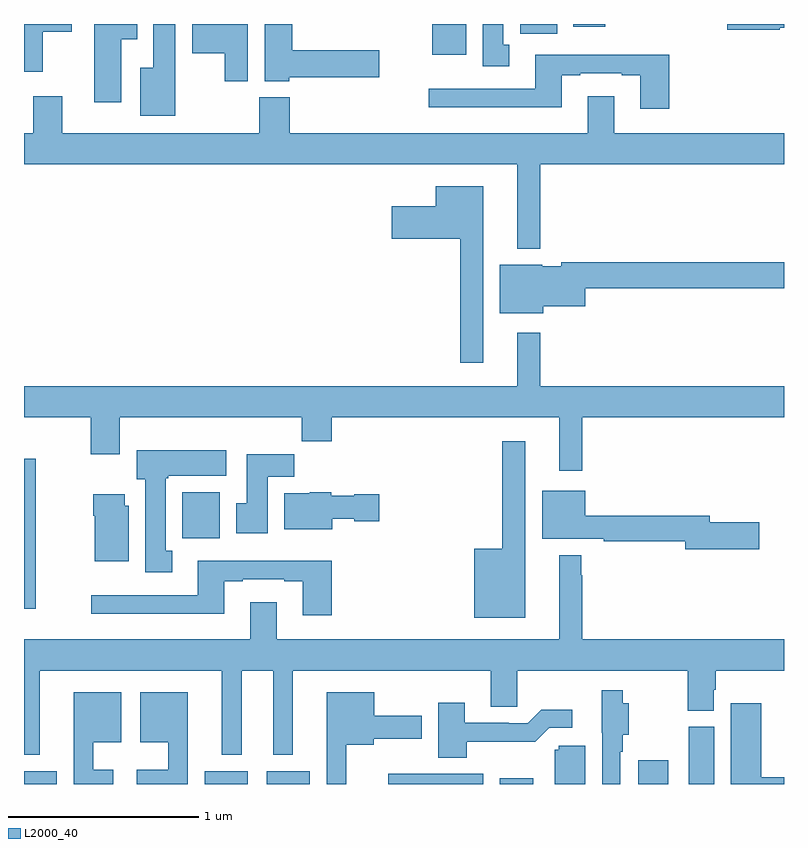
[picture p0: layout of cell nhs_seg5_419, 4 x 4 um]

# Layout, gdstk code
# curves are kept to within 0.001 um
import gdstk
lib = gdstk.Library(unit=1e-6, precision=1e-09)
def R(c, l, rs):  # rectangles x0, y0, x1, y1
    for r in rs: c.add(gdstk.rectangle(r[:2], r[2:], *l))
def P(c, l, *ps):  # polygons
    for p in ps: c.add(gdstk.Polygon(p, *l))
L2000_40 = (2000, 40)

nhs_seg5_419 = lib.new_cell('nhs_seg5_419')
R(nhs_seg5_419, L2000_40, [(137,886.799,137.173,886.867), (137.951,886.799,138.178,886.867), (138.278,886.799,138.505,886.867), (138.918,886.799,139.418,886.852), (139.503,886.799,139.681,886.828), (140.234,886.799,140.392,886.924), (140.498,886.799,140.632,887.1), (137,887.721,137.063,888.512), (137.834,888.092,138.031,888.334), (139.148,890.636,139.327,890.799), (139.611,890.748,139.807,890.799), (139.892,890.784,140.059,890.799)])
P(nhs_seg5_419, L2000_40, [(137.512,890.72),(137.596,890.72),(137.596,890.799),(137.369,890.799),(137.369,890.388),(137.512,890.388)],
  [(139.555,890.689),(139.522,890.689),(139.522,890.799),(139.415,890.799),(139.415,890.577),(139.555,890.577)],
  [(138.178,890.799),(137.885,890.799),(137.885,890.645),(138.056,890.645),(138.056,890.499),(138.178,890.499)],
  [(137.797,890.799),(137.681,890.799),(137.681,890.569),(137.612,890.569),(137.612,890.315),(137.797,890.315)],
  [(138.396,890.518),(138.871,890.518),(138.871,890.66),(138.413,890.66),(138.413,890.799),(138.266,890.799),(138.266,890.498),(138.396,890.498)],
  [(137.098,890.758),(137.251,890.758),(137.251,890.799),(137,890.799),(137,890.547),(137.098,890.547)],
  [(140.978,890.78),(141,890.78),(141,890.799),(140.702,890.799),(140.702,890.768),(140.978,890.768)],
  [(140.396,890.638),(139.691,890.638),(139.691,890.457),(139.131,890.457),(139.131,890.36),(139.831,890.36),(139.831,890.529),(139.927,890.529),(139.927,890.541),(140.147,890.541),(140.147,890.529),(140.243,890.529),(140.243,890.352),(140.396,890.352)],
  [(141,890.224),(140.107,890.224),(140.107,890.419),(139.967,890.419),(139.967,890.224),(138.398,890.224),(138.398,890.413),(138.238,890.413),(138.238,890.224),(137.2,890.224),(137.2,890.419),(137.048,890.419),(137.048,890.224),(137,890.224),(137,890.06),(139.595,890.06),(139.595,889.616),(139.717,889.616),(139.717,890.06),(141,890.06)],
  [(139.417,889.945),(139.166,889.945),(139.166,889.84),(138.936,889.84),(138.936,889.67),(139.296,889.67),(139.296,889.017),(139.417,889.017)],
  [(139.732,889.313),(139.954,889.313),(139.954,889.408),(141,889.408),(141,889.544),(139.828,889.544),(139.828,889.525),(139.728,889.525),(139.728,889.531),(139.505,889.531),(139.505,889.277),(139.732,889.277)],
  [(139.939,888.728),(141,888.728),(141,888.892),(139.717,888.892),(139.717,889.174),(139.595,889.174),(139.595,888.892),(137,888.892),(137,888.728),(137.351,888.728),(137.351,888.534),(137.503,888.534),(137.503,888.728),(138.463,888.728),(138.463,888.604),(138.62,888.604),(138.62,888.728),(139.817,888.728),(139.817,888.447),(139.939,888.447)],
  [(139.639,888.604),(139.518,888.604),(139.518,888.037),(139.37,888.037),(139.37,887.675),(139.639,887.675)],
  [(137.779,888.026),(137.746,888.026),(137.746,888.409),(137.76,888.409),(137.76,888.422),(138.064,888.422),(138.064,888.556),(137.594,888.556),(137.594,888.402),(137.639,888.402),(137.639,887.913),(137.779,887.913)],
  [(138.283,888.416),(138.422,888.416),(138.422,888.535),(138.173,888.535),(138.173,888.276),(138.116,888.276),(138.116,888.12),(138.283,888.12)],
  [(140.869,888.176),(140.608,888.176),(140.608,888.212),(139.954,888.212),(139.954,888.343),(139.727,888.343),(139.727,888.089),(140.05,888.089),(140.05,888.076),(140.48,888.076),(140.48,888.034),(140.869,888.034)],
  [(138.622,888.194),(138.738,888.194),(138.738,888.182),(138.871,888.182),(138.871,888.324),(138.738,888.324),(138.738,888.316),(138.618,888.316),(138.618,888.334),(138.504,888.334),(138.504,888.328),(138.371,888.328),(138.371,888.14),(138.622,888.14)],
  [(137.551,888.264),(137.53,888.264),(137.53,888.325),(137.365,888.325),(137.365,888.212),(137.372,888.212),(137.372,887.972),(137.551,887.972)],
  [(137.083,887.396),(138.041,887.396),(138.041,886.952),(138.145,886.952),(138.145,887.396),(138.311,887.396),(138.311,886.952),(138.415,886.952),(138.415,887.396),(139.457,887.396),(139.457,887.206),(139.596,887.206),(139.596,887.396),(140.494,887.396),(140.494,887.185),(140.629,887.185),(140.629,887.295),(140.642,887.295),(140.642,887.396),(141,887.396),(141,887.56),(139.939,887.56),(139.939,887.897),(139.932,887.897),(139.932,888.004),(139.817,888.004),(139.817,887.56),(138.331,887.56),(138.331,887.755),(138.191,887.755),(138.191,887.56),(137,887.56),(137,886.952),(137.083,886.952)],
  [(138.62,887.974),(137.915,887.974),(137.915,887.793),(137.355,887.793),(137.355,887.696),(138.055,887.696),(138.055,887.865),(138.151,887.865),(138.151,887.877),(138.371,887.877),(138.371,887.865),(138.467,887.865),(138.467,887.688),(138.62,887.688)],
  [(140.139,886.97),(140.152,886.97),(140.152,887.059),(140.184,887.059),(140.184,887.224),(140.152,887.224),(140.152,887.293),(140.042,887.293),(140.042,887.07),(140.043,887.07),(140.043,886.799),(140.139,886.799)],
  [(137.47,886.873),(137.365,886.873),(137.365,887.018),(137.512,887.018),(137.512,887.281),(137.261,887.281),(137.261,886.799),(137.47,886.799)],
  [(138.697,887.006),(138.84,887.006),(138.84,887.036),(139.093,887.036),(139.093,887.158),(138.844,887.158),(138.844,887.281),(138.593,887.281),(138.593,886.799),(138.697,886.799)],
  [(137.863,887.281),(137.612,887.281),(137.612,887.018),(137.759,887.018),(137.759,886.873),(137.594,886.873),(137.594,886.799),(137.863,886.799)],
  [(139.329,887.022),(139.691,887.021),(139.764,887.094),(139.885,887.094),(139.885,887.191),(139.723,887.191),(139.65,887.118),(139.55,887.118),(139.55,887.121),(139.321,887.121),(139.321,887.227),(139.181,887.227),(139.181,886.937),(139.329,886.937)],
  [(141,886.834),(140.881,886.834),(140.881,887.224),(140.72,887.224),(140.72,886.799),(141,886.799)],
  [(139.954,887.001),(139.815,887.001),(139.815,886.98),(139.793,886.98),(139.793,886.799),(139.954,886.799)])

lib.write_gds('nhs_seg5_419.gds')
